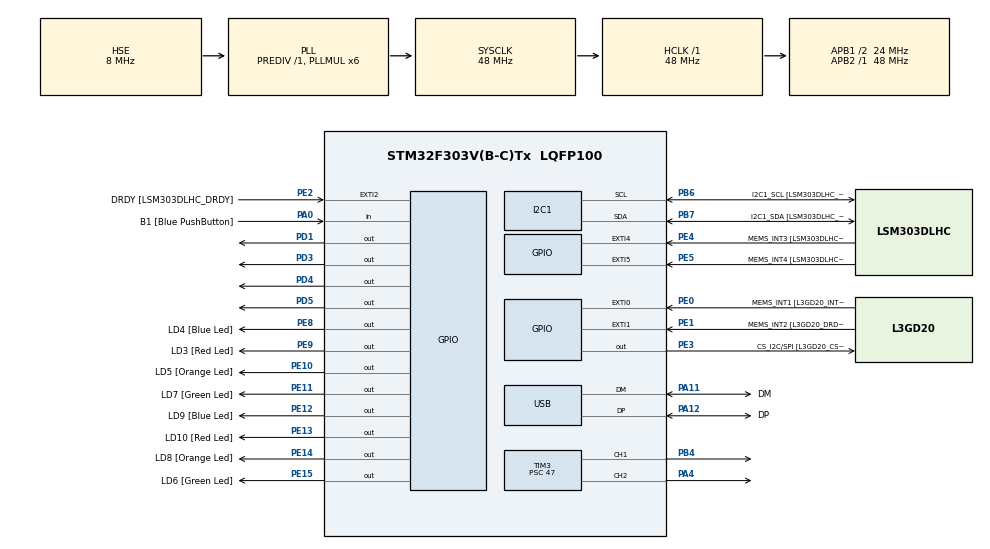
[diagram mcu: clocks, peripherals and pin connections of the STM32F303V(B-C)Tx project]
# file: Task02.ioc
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I2C1.Timing=0x00201D2B
I2C1.Timing-I2C=0x2000090E
Mcu.Family=STM32F3
Mcu.Name=STM32F303V(B-C)Tx
Mcu.Package=LQFP100
NVIC.PriorityGroup=NVIC_PRIORITYGROUP_0
PA0.GPIO_Label=B1 [Blue PushButton]
PA0.Signal=GPIO_Input
PA11.GPIO_Label=DM
PA11.Mode=Device
PA11.Signal=USB_DM
PA12.GPIO_Label=DP
PA12.Mode=Device
PA12.Signal=USB_DP
PA13.GPIO_Label=SWDIO
PA13.Mode=Serial_Wire
PA13.Signal=SYS_JTMS-SWDIO
PA14.GPIO_Label=SWCLK
PA14.Mode=Serial_Wire
PA14.Signal=SYS_JTCK-SWCLK
PA4.Signal=S_TIM3_CH2
PA5.GPIO_Label=SPI1_SCK [L3GD20_SCL/SPC]
PA5.Signal=SPI1_SCK
PA6.Signal=SPI1_MISO
PA7.GPIO_Label=SPI1_MISO [L3GD20_SDA/SDI/SDO]
PA7.Signal=SPI1_MOSI
PB3.GPIO_Label=SWO
PB3.Signal=SYS_JTDO-TRACESWO
PB4.Signal=S_TIM3_CH1
PB6.GPIO_Label=I2C1_SCL [LSM303DLHC_SCL]
PB6.GPIO_Pu=GPIO_PULLUP
PB6.Mode=I2C
PB6.Signal=I2C1_SCL
PB7.GPIO_Label=I2C1_SDA [LSM303DLHC_SDA]
PB7.GPIO_Pu=GPIO_PULLUP
PB7.Mode=I2C
PB7.Signal=I2C1_SDA
PC14-OSC32_IN.GPIO_Label=OSC32_IN
PC14-OSC32_IN.Signal=RCC_OSC32_IN
PC15-OSC32_OUT.GPIO_Label=OSC32_OUT
PC15-OSC32_OUT.Signal=RCC_OSC32_OUT
PD1.Signal=GPIO_Output
PD3.Signal=GPIO_Output
PD4.Signal=GPIO_Output
PD5.Signal=GPIO_Output
PE0.GPIO_Label=MEMS_INT1 [L3GD20_INT1]
PE0.GPIO_ModeDefaultEXTI=GPIO_MODE_EVT_RISING
PE0.Signal=GPXTI0
PE1.GPIO_Label=MEMS_INT2 [L3GD20_DRDY/INT2]
PE1.GPIO_ModeDefaultEXTI=GPIO_MODE_EVT_RISING
PE1.Signal=GPXTI1
PE10.GPIO_Label=LD5 [Orange Led]
PE10.Signal=GPIO_Output
PE11.GPIO_Label=LD7 [Green Led]
PE11.Signal=GPIO_Output
PE12.GPIO_Label=LD9 [Blue Led]
PE12.Signal=GPIO_Output
PE13.GPIO_Label=LD10 [Red Led]
PE13.Signal=GPIO_Output
PE14.GPIO_Label=LD8 [Orange Led]
PE14.Signal=GPIO_Output
PE15.GPIO_Label=LD6 [Green Led]
PE15.Signal=GPIO_Output
PE2.GPIO_Label=DRDY [LSM303DLHC_DRDY]
PE2.GPIO_ModeDefaultEXTI=GPIO_MODE_EVT_RISING
PE2.Signal=GPXTI2
PE3.GPIO_Label=CS_I2C/SPI [L3GD20_CS_I2C/SPI]
PE3.Signal=GPIO_Output
PE4.GPIO_Label=MEMS_INT3 [LSM303DLHC_INT1]
PE4.GPIO_ModeDefaultEXTI=GPIO_MODE_EVT_RISING
PE4.Signal=GPXTI4
PE5.GPIO_Label=MEMS_INT4 [LSM303DLHC_INT2]
PE5.GPIO_ModeDefaultEXTI=GPIO_MODE_EVT_RISING
PE5.Signal=GPXTI5
PE8.GPIO_Label=LD4 [Blue Led]
PE8.Signal=GPIO_Output
PE9.GPIO_Label=LD3 [Red Led]
PE9.Signal=GPIO_Output
PF0-OSC_IN.GPIO_Label=OSC_IN
PF0-OSC_IN.Mode=HSE-External-Clock-Source
PF0-OSC_IN.Signal=RCC_OSC_IN
PF1-OSC_OUT.GPIO_Label=OSC_OUT
PF1-OSC_OUT.Signal=RCC_OSC_OUT
ProjectManager.HeapSize=0x200
ProjectManager.StackSize=0x400
ProjectManager.TargetToolchain=CMake
RCC.AHBFreq_Value=48000000
RCC.APB1CLKDivider=RCC_HCLK_DIV2
RCC.APB1Freq_Value=24000000
RCC.APB1TimFreq_Value=48000000
RCC.APB2Freq_Value=48000000
RCC.APB2TimFreq_Value=48000000
RCC.CortexFreq_Value=48000000
RCC.HCLKFreq_Value=48000000
RCC.HSE_VALUE=8000000
RCC.HSI_VALUE=8000000
RCC.LSE_VALUE=32768
RCC.PLLMUL=RCC_PLL_MUL6
RCC.SYSCLKFreq_VALUE=48000000
RCC.SYSCLKSourceVirtual=RCC_SYSCLKSOURCE_PLLCLK
RCC.USBFreq_Value=48000000
SH.S_TIM3_CH1.0=TIM3_CH1,PWM Generation1 CH1
SH.S_TIM3_CH2.0=TIM3_CH2,PWM Generation2 CH2
TIM3.Channel-PWM\ Generation1\ CH1=TIM_CHANNEL_1
TIM3.Channel-PWM\ Generation2\ CH2=TIM_CHANNEL_2
TIM3.Period=999
TIM3.Prescaler=47
board=STM32F3DISCOVERY

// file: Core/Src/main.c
/* USER CODE BEGIN Header */
/**
  ******************************************************************************
  * @file           : main.c
  * @brief          : Main program body
  ******************************************************************************
  * @attention
  *
  * Copyright (c) 2026 STMicroelectronics.
  * All rights reserved.
  *
  * This software is licensed under terms that can be found in the LICENSE file
  * in the root directory of this software component.
  * If no LICENSE file comes with this software, it is provided AS-IS.
  *
  ******************************************************************************
  */
/* USER CODE END Header */
#include "main.h"

I2C_HandleTypeDef hi2c1;

TIM_HandleTypeDef htim3;

PCD_HandleTypeDef hpcd_USB_FS;

void SystemClock_Config(void);
static void MX_GPIO_Init(void);
static void MX_I2C1_Init(void);
static void MX_TIM3_Init(void);
static void MX_USB_PCD_Init(void);

int main(void)
{

  /* MCU Configuration--------------------------------------------------------*/

  /* Reset of all peripherals, Initializes the Flash interface and the Systick. */
  HAL_Init();

  /* Configure the system clock */
  SystemClock_Config();

  /* Initialize all configured peripherals */
  MX_GPIO_Init();
  MX_I2C1_Init();
  MX_TIM3_Init();
  MX_USB_PCD_Init();
  /* USER CODE BEGIN 2 */
  void forward_motor(){

    HAL_GPIO_WritePin(GPIOD, GPIO_PIN_4, GPIO_PIN_SET);
    HAL_GPIO_WritePin(GPIOD, GPIO_PIN_5, GPIO_PIN_RESET);
    HAL_GPIO_WritePin(GPIOD, GPIO_PIN_1, GPIO_PIN_RESET);
    HAL_GPIO_WritePin(GPIOD, GPIO_PIN_3, GPIO_PIN_SET);

    uint32_t ARR = 999;
    __HAL_TIM_SET_COMPARE(&htim3, TIM_CHANNEL_1 , ARR - 100);
    __HAL_TIM_SET_COMPARE(&htim3, TIM_CHANNEL_2 , ARR - 100);
  }
  void backward_motor(){
    HAL_GPIO_WritePin(GPIOD, GPIO_PIN_4, GPIO_PIN_RESET);
    HAL_GPIO_WritePin(GPIOD, GPIO_PIN_5, GPIO_PIN_SET);
    HAL_GPIO_WritePin(GPIOD, GPIO_PIN_1, GPIO_PIN_SET);
    HAL_GPIO_WritePin(GPIOD, GPIO_PIN_3, GPIO_PIN_RESET);

    uint32_t ARR = 999;
    __HAL_TIM_SET_COMPARE(&htim3, TIM_CHANNEL_1 , ARR - 100);
    __HAL_TIM_SET_COMPARE(&htim3, TIM_CHANNEL_2 , ARR - 100);
  }
  /* USER CODE END 2 */
  HAL_TIM_PWM_Start(&htim3, TIM_CHANNEL_1);
  HAL_TIM_PWM_Start(&htim3, TIM_CHANNEL_2);
  /* Infinite loop */
  while (1)
  {
    forward_motor();
    HAL_Delay(10000);
    backward_motor();
    HAL_Delay(10000);
  }
  /* USER CODE END 3 */
}

void SystemClock_Config(void)
{
  RCC_OscInitTypeDef RCC_OscInitStruct = {0};
  RCC_ClkInitTypeDef RCC_ClkInitStruct = {0};
  RCC_PeriphCLKInitTypeDef PeriphClkInit = {0};

  /** Initializes the RCC Oscillators according to the specified parameters
  * in the RCC_OscInitTypeDef structure.
  */
  RCC_OscInitStruct.OscillatorType = RCC_OSCILLATORTYPE_HSI|RCC_OSCILLATORTYPE_HSE;
  RCC_OscInitStruct.HSEState = RCC_HSE_BYPASS;
  RCC_OscInitStruct.HSEPredivValue = RCC_HSE_PREDIV_DIV1;
  RCC_OscInitStruct.HSIState = RCC_HSI_ON;
  RCC_OscInitStruct.HSICalibrationValue = RCC_HSICALIBRATION_DEFAULT;
  RCC_OscInitStruct.PLL.PLLState = RCC_PLL_ON;
  RCC_OscInitStruct.PLL.PLLSource = RCC_PLLSOURCE_HSE;
  RCC_OscInitStruct.PLL.PLLMUL = RCC_PLL_MUL6;
  if (HAL_RCC_OscConfig(&RCC_OscInitStruct) != HAL_OK)
  {
    Error_Handler();
  }

  /** Initializes the CPU, AHB and APB buses clocks
  */
  RCC_ClkInitStruct.ClockType = RCC_CLOCKTYPE_HCLK|RCC_CLOCKTYPE_SYSCLK
                              |RCC_CLOCKTYPE_PCLK1|RCC_CLOCKTYPE_PCLK2;
  RCC_ClkInitStruct.SYSCLKSource = RCC_SYSCLKSOURCE_PLLCLK;
  RCC_ClkInitStruct.AHBCLKDivider = RCC_SYSCLK_DIV1;
  RCC_ClkInitStruct.APB1CLKDivider = RCC_HCLK_DIV2;
  RCC_ClkInitStruct.APB2CLKDivider = RCC_HCLK_DIV1;

  if (HAL_RCC_ClockConfig(&RCC_ClkInitStruct, FLASH_LATENCY_1) != HAL_OK)
  {
    Error_Handler();
  }
  PeriphClkInit.PeriphClockSelection = RCC_PERIPHCLK_USB|RCC_PERIPHCLK_I2C1;
  PeriphClkInit.I2c1ClockSelection = RCC_I2C1CLKSOURCE_HSI;
  PeriphClkInit.USBClockSelection = RCC_USBCLKSOURCE_PLL;
  if (HAL_RCCEx_PeriphCLKConfig(&PeriphClkInit) != HAL_OK)
  {
    Error_Handler();
  }
}

static void MX_I2C1_Init(void)
{

  hi2c1.Instance = I2C1;
  hi2c1.Init.Timing = 0x00201D2B;
  hi2c1.Init.OwnAddress1 = 0;
  hi2c1.Init.AddressingMode = I2C_ADDRESSINGMODE_7BIT;
  hi2c1.Init.DualAddressMode = I2C_DUALADDRESS_DISABLE;
  hi2c1.Init.OwnAddress2 = 0;
  hi2c1.Init.OwnAddress2Masks = I2C_OA2_NOMASK;
  hi2c1.Init.GeneralCallMode = I2C_GENERALCALL_DISABLE;
  hi2c1.Init.NoStretchMode = I2C_NOSTRETCH_DISABLE;
  if (HAL_I2C_Init(&hi2c1) != HAL_OK)
  {
    Error_Handler();
  }

  /** Configure Analogue filter
  */
  if (HAL_I2CEx_ConfigAnalogFilter(&hi2c1, I2C_ANALOGFILTER_ENABLE) != HAL_OK)
  {
    Error_Handler();
  }

  /** Configure Digital filter
  */
  if (HAL_I2CEx_ConfigDigitalFilter(&hi2c1, 0) != HAL_OK)
  {
    Error_Handler();
  }

}

static void MX_TIM3_Init(void)
{

  TIM_MasterConfigTypeDef sMasterConfig = {0};
  TIM_OC_InitTypeDef sConfigOC = {0};

  htim3.Instance = TIM3;
  htim3.Init.Prescaler = 47;
  htim3.Init.CounterMode = TIM_COUNTERMODE_UP;
  htim3.Init.Period = 999;
  htim3.Init.ClockDivision = TIM_CLOCKDIVISION_DIV1;
  htim3.Init.AutoReloadPreload = TIM_AUTORELOAD_PRELOAD_DISABLE;
  if (HAL_TIM_PWM_Init(&htim3) != HAL_OK)
  {
    Error_Handler();
  }
  sMasterConfig.MasterOutputTrigger = TIM_TRGO_RESET;
  sMasterConfig.MasterSlaveMode = TIM_MASTERSLAVEMODE_DISABLE;
  if (HAL_TIMEx_MasterConfigSynchronization(&htim3, &sMasterConfig) != HAL_OK)
  {
    Error_Handler();
  }
  sConfigOC.OCMode = TIM_OCMODE_PWM1;
  sConfigOC.Pulse = 0;
  sConfigOC.OCPolarity = TIM_OCPOLARITY_HIGH;
  sConfigOC.OCFastMode = TIM_OCFAST_DISABLE;
  if (HAL_TIM_PWM_ConfigChannel(&htim3, &sConfigOC, TIM_CHANNEL_1) != HAL_OK)
  {
    Error_Handler();
  }
  if (HAL_TIM_PWM_ConfigChannel(&htim3, &sConfigOC, TIM_CHANNEL_2) != HAL_OK)
  {
    Error_Handler();
  }
  HAL_TIM_MspPostInit(&htim3);

}

static void MX_USB_PCD_Init(void)
{

  hpcd_USB_FS.Instance = USB;
  hpcd_USB_FS.Init.dev_endpoints = 8;
  hpcd_USB_FS.Init.speed = PCD_SPEED_FULL;
  hpcd_USB_FS.Init.phy_itface = PCD_PHY_EMBEDDED;
  hpcd_USB_FS.Init.low_power_enable = DISABLE;
  hpcd_USB_FS.Init.battery_charging_enable = DISABLE;
  if (HAL_PCD_Init(&hpcd_USB_FS) != HAL_OK)
  {
    Error_Handler();
  }

}

static void MX_GPIO_Init(void)
{
  GPIO_InitTypeDef GPIO_InitStruct = {0};

  /* GPIO Ports Clock Enable */
  __HAL_RCC_GPIOE_CLK_ENABLE();
  __HAL_RCC_GPIOC_CLK_ENABLE();
  __HAL_RCC_GPIOF_CLK_ENABLE();
  __HAL_RCC_GPIOA_CLK_ENABLE();
  __HAL_RCC_GPIOD_CLK_ENABLE();
  __HAL_RCC_GPIOB_CLK_ENABLE();

  /*Configure GPIO pin Output Level */
  HAL_GPIO_WritePin(GPIOE, CS_I2C_SPI_Pin|LD4_Pin|LD3_Pin|LD5_Pin
                          |LD7_Pin|LD9_Pin|LD10_Pin|LD8_Pin
                          |LD6_Pin, GPIO_PIN_RESET);

  /*Configure GPIO pin Output Level */
  HAL_GPIO_WritePin(GPIOD, GPIO_PIN_1|GPIO_PIN_3|GPIO_PIN_4|GPIO_PIN_5, GPIO_PIN_RESET);

  /*Configure GPIO pins : DRDY_Pin MEMS_INT3_Pin MEMS_INT4_Pin MEMS_INT1_Pin
                           MEMS_INT2_Pin */
  GPIO_InitStruct.Pin = DRDY_Pin|MEMS_INT3_Pin|MEMS_INT4_Pin|MEMS_INT1_Pin
                          |MEMS_INT2_Pin;
  GPIO_InitStruct.Mode = GPIO_MODE_EVT_RISING;
  GPIO_InitStruct.Pull = GPIO_NOPULL;
  HAL_GPIO_Init(GPIOE, &GPIO_InitStruct);

  /*Configure GPIO pins : CS_I2C_SPI_Pin LD4_Pin LD3_Pin LD5_Pin
                           LD7_Pin LD9_Pin LD10_Pin LD8_Pin
                           LD6_Pin */
  GPIO_InitStruct.Pin = CS_I2C_SPI_Pin|LD4_Pin|LD3_Pin|LD5_Pin
                          |LD7_Pin|LD9_Pin|LD10_Pin|LD8_Pin
                          |LD6_Pin;
  GPIO_InitStruct.Mode = GPIO_MODE_OUTPUT_PP;
  GPIO_InitStruct.Pull = GPIO_NOPULL;
  GPIO_InitStruct.Speed = GPIO_SPEED_FREQ_LOW;
  HAL_GPIO_Init(GPIOE, &GPIO_InitStruct);

  /*Configure GPIO pin : B1_Pin */
  GPIO_InitStruct.Pin = B1_Pin;
  GPIO_InitStruct.Mode = GPIO_MODE_INPUT;
  GPIO_InitStruct.Pull = GPIO_NOPULL;
  HAL_GPIO_Init(B1_GPIO_Port, &GPIO_InitStruct);

  /*Configure GPIO pins : SPI1_SCK_Pin PA6 SPI1_MISO_Pin */
  GPIO_InitStruct.Pin = SPI1_SCK_Pin|GPIO_PIN_6|SPI1_MISO_Pin;
  GPIO_InitStruct.Mode = GPIO_MODE_AF_PP;
  GPIO_InitStruct.Pull = GPIO_NOPULL;
  GPIO_InitStruct.Speed = GPIO_SPEED_FREQ_HIGH;
  GPIO_InitStruct.Alternate = GPIO_AF5_SPI1;
  HAL_GPIO_Init(GPIOA, &GPIO_InitStruct);

  /*Configure GPIO pins : PD1 PD3 PD4 PD5 */
  GPIO_InitStruct.Pin = GPIO_PIN_1|GPIO_PIN_3|GPIO_PIN_4|GPIO_PIN_5;
  GPIO_InitStruct.Mode = GPIO_MODE_OUTPUT_PP;
  GPIO_InitStruct.Pull = GPIO_NOPULL;
  GPIO_InitStruct.Speed = GPIO_SPEED_FREQ_LOW;
  HAL_GPIO_Init(GPIOD, &GPIO_InitStruct);

}

void Error_Handler(void)
{
  __disable_irq();
  while (1)
  {
  }
}
